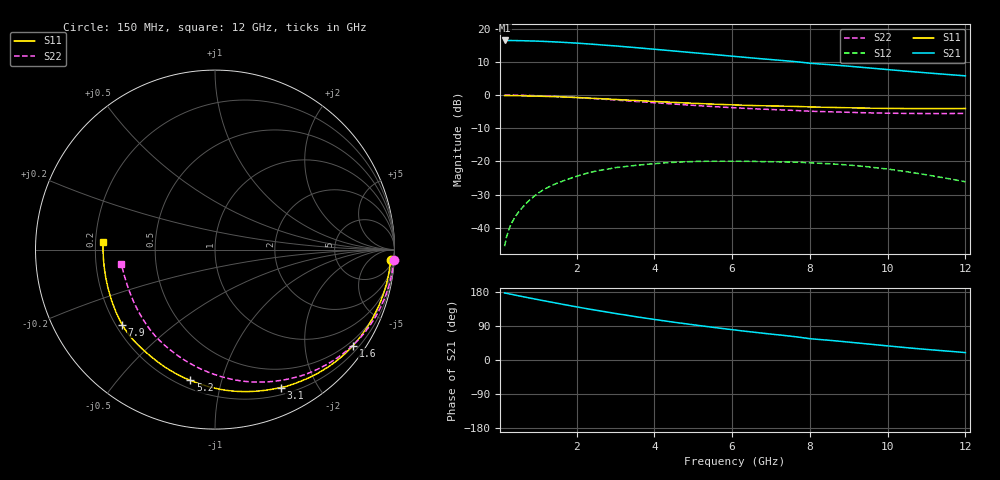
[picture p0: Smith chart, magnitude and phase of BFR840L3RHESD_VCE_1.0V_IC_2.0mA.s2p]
! Infineon Technologies  Discrete & RF Semiconductors
! BFR840L3RHESD
! VCE =  1.0 V,  IC =  2.0 mA
! Common Emitter S-Parameters:  Jun 2012
# GHz  S  MA  R  50
!  f  S11  S21  S12  S22
! GHz  MAG  ANG  MAG  ANG  MAG  ANG  MAG  ANG
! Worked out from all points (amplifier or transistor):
!   91 points, 150 MHz to 12 GHz, reference 50 ohm
!   highest |S21| = 16.4 dB at 150 MHz (marker M1)
!   |S21| within 3 dB of that: start of sweep to 4.342 GHz
!   unconditionally stable (mu >= 1): 10.02 GHz to end of sweep
!   at 1.3 GHz: K = 0.07, MSG = 21.8 dB, |S12| = -27.6 dB
!   at 4.3 GHz: K = 0.21, MSG = 16.9 dB, |S12| = -20.4 dB
!   at 12 GHz: K = 2.03, MAG = 10.1 dB, |S12| = -26.1 dB
!   S11 on the Smith chart (normalised r, x): 150 MHz: 10, -30; 1.6 GHz: 0.36, -3.15; 3.1 GHz: 0.28, -1.55; 5.2 GHz: 0.25, -0.80; 7.9 GHz: 0.23, -0.34; 12 GHz: 0.23, +0.03
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0.15  0.9801 -3.4  6.622 176.9  0.0053 85.2  0.9979 -3.2
0.2  0.9794 -4.6  6.619 175.9  0.0073 86.7  0.9971 -4.3
0.3  0.978 -6.9  6.608 173.8  0.0108 86.5  0.9955 -6.4
0.6  0.9719 -13.5  6.56 167.6  0.02 79.8  0.9887 -12.5
1.1  0.9565 -24.2  6.428 157.5  0.0359 69.4  0.9697 -22.6
1.6  0.9368 -34.8  6.229 147.8  0.0495 61.7  0.9428 -32.5
1.9  0.9219 -41.1  6.087 142.1  0.0571 57.0  0.9226 -38.2
2.2  0.9049 -47.2  5.931 136.6  0.0647 52.2  0.9006 -43.9
2.6  0.8812 -55.0  5.7 129.7  0.0733 45.7  0.871 -51.1
3.1  0.8509 -64.6  5.413 121.2  0.0816 38.6  0.8321 -59.7
3.6  0.8218 -73.7  5.118 113.1  0.0881 32.0  0.7942 -68.0
4.2  0.7901 -84.2  4.769 104.1  0.0944 24.6  0.7516 -77.5
4.6  0.7695 -90.9  4.545 98.4  0.0976 19.9  0.7246 -83.5
5.2  0.7415 -100.7  4.231 90.3  0.1003 13.0  0.6872 -92.3
5.7  0.7219 -108.5  3.985 83.8  0.1009 7.8  0.66 -99.4
6.1  0.7076 -114.6  3.795 78.9  0.1008 3.9  0.6405 -104.9
6.8  0.688 -124.7  3.492 70.6  0.0995 -2.4  0.6118 -114.1
7.9  0.6648 -141.1  3.054 57.7  0.096 -13.1  0.574 -129.2
8.5  0.6514 -148.3  2.864 52.0  0.0923 -18.2  0.5588 -135.8
9.5  0.634 -159.8  2.561 42.2  0.0829 -26.7  0.5392 -146.8
10.5  0.6252 -170.6  2.278 32.4  0.0699 -34.5  0.5278 -157.6
12  0.626 176.1  1.942 19.6  0.0495 -40.2  0.5283 -171.2
